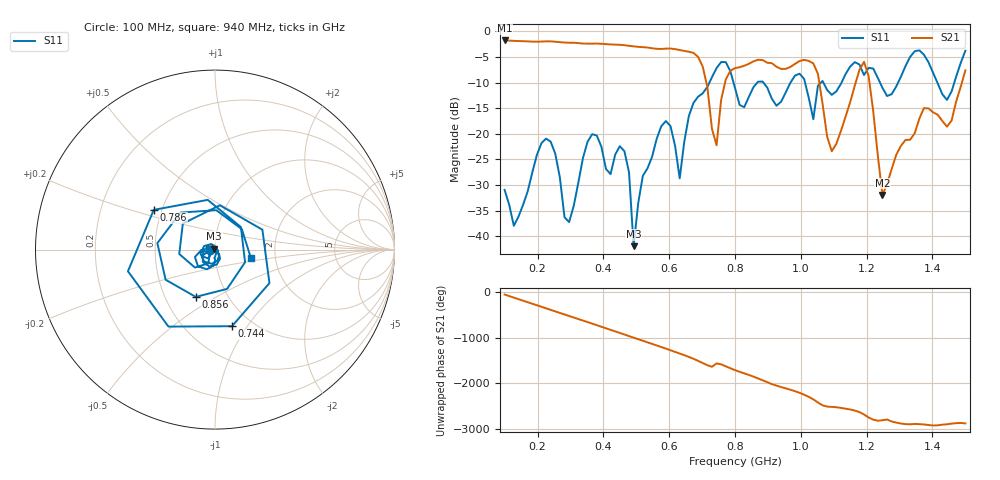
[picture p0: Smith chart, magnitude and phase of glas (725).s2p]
! NanoVNA-App
! Date: 2025-09-25 16:01:07
! Start: 100MHz Stop: 1,5GHz Points: 101
! S-Parameter data: F S11 S21 S12 S22
# Hz S RI R 50
!  Frequency  S11_Real  S11_Imag  S21_Real  S21_Imag  S12_Real  S12_Imag  S22_Real  S22_Imag
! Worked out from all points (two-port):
!   101 points, 100 MHz to 1.5 GHz, reference 50 ohm
!   highest |S21| = -1.80 dB at 100 MHz (marker M1); lowest = -31.9 dB at 1.248 GHz (marker M2)
!   |S21| within 3 dB of the highest: start of sweep to 684.3 MHz
!   lowest |S11| = -41.9 dB at 492 MHz (marker M3), VSWR 1.02, Z = 49.5 + j0.593 ohm
!   |S11| at or under -10 dB: start of sweep to 722.4 MHz; 795.4 MHz to 867.9 MHz (72.43 MHz wide, 8.71 % of centre); 886.3 MHz to 968.8 MHz (82.55 MHz wide, 8.9 % of centre) (the widest 3 of 7)
!   S12 and S22 are empty: the file has one direction only
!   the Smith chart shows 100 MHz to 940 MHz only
!   S11 on the Smith chart (normalised r, x): 100 MHz: 0.94, -0.01; 744 MHz: 0.81, -0.85; 786 MHz: 0.45, +0.24; 856 MHz: 0.71, -0.41; 940 MHz: 1.49, -0.15
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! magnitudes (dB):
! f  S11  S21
! 100 MHz  -30.9  -1.8
! 128 MHz  -37.9  -1.9
! 226 MHz  -20.9  -2.0
! 296 MHz  -37.2  -2.2
! 338 MHz  -24.7  -2.4
! 464 MHz  -23.4  -2.7
! 492 MHz  -41.9  -3.0
! 576 MHz  -18.5  -3.5
! 632 MHz  -28.7  -3.7
! 702 MHz  -12.1  -6.9
! 744 MHz  -7.2  -22.2
! 786 MHz  -7.8  -7.7
! 800 MHz  -11.1  -7.2
! 856 MHz  -10.9  -5.9
! 940 MHz  -13.7  -7.4
! 1.038 GHz  -17.2  -6.3
! 1.094 GHz  -12.4  -23.4
! 1.192 GHz  -8.5  -6.0
! 1.248 GHz  -11.0  -31.9
! 1.276 GHz  -12.3  -26.9
! 1.444 GHz  -13.4  -18.6
! 1.5 GHz  -3.8  -7.6
